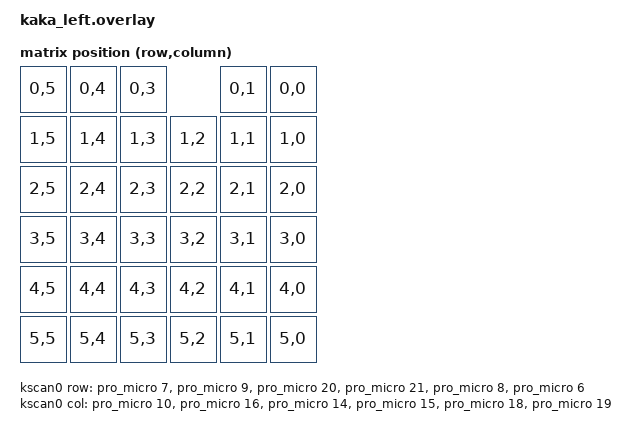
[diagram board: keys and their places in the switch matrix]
/*
 * Copyright (c) 2020 Pete Johanson
 *
 * SPDX-License-Identifier: MIT
 */

#include <dt-bindings/zmk/matrix_transform.h>



&pinctrl {
    spi0_default: spi0_default {
        group1 {
            psels = <NRF_PSEL(SPIM_SCK, 0, 24)>,
                <NRF_PSEL(SPIM_MOSI, 0, 22)>,
                <NRF_PSEL(SPIM_MISO, 0, 17)>;
        };
    };

    spi0_sleep: spi0_sleep {
        group1 {
            psels = <NRF_PSEL(SPIM_SCK, 0, 24>,
                <NRF_PSEL(SPIM_MOSI, 0, 22)>,
                <NRF_PSEL(SPIM_MISO, 0, 17>;
            low-power-enable;
        };
    };
};

&spi0 {
    status = "okay";
    compatible = "nordic,nrf-spim";
    pinctrl-0 = <&spi0_default>;
    pinctrl-1 = <&spi0_sleep>;
    pinctrl-names = "default", "sleep";
    cs-gpios = <&gpio0 20 GPIO_ACTIVE_LOW>;

    trackball: trackball@0 {
        status = "okay";
        compatible = "pixart,pmw3610";
        reg = <0>;
        spi-max-frequency = <2000000>;
        irq-gpios = <&gpio0 8 (GPIO_ACTIVE_LOW | GPIO_PULL_UP)>;

        /*   optional features   */
        // snipe-layers = <1>;
        // scroll-layers = <2 3>;
        // automouse-layer = <4>;
    };
};

/ {
  trackball_listener {
    compatible = "zmk,input-listener";
    device = <&trackball>;

  };
};


/ {
    chosen {
        zmk,kscan = &kscan0;
        zmk,matrix-transform = &default_transform;
    };

    default_transform: keymap_transform_0 {
        compatible = "zmk,matrix-transform";
        columns = <6>;
        rows = <6>;
// | SW1  | SW2  | SW3  | SW4  | SW5  | SW6  |   | SW6  | SW5  | SW4  | SW3  | SW2  | SW1  |
// | SW7  | SW8  | SW9  | SW10 | SW11 | SW12 |   | SW12 | SW11 | SW10 | SW9  | SW8  | SW7  |
// | SW13 | SW14 | SW15 | SW16 | SW17 | SW18 |   | SW18 | SW17 | SW16 | SW15 | SW14 | SW13 |
//                      | SW19 | SW20 | SW21 |   | SW21 | SW20 | SW19 |
        map = <
RC(0,5) RC(0,4) RC(0,3)         RC(0,1) RC(0,0)  
RC(1,5) RC(1,4) RC(1,3) RC(1,2) RC(1,1) RC(1,0)  
RC(2,5) RC(2,4) RC(2,3) RC(2,2) RC(2,1) RC(2,0)
RC(3,5) RC(3,4) RC(3,3) RC(3,2) RC(3,1) RC(3,0)  
RC(4,5) RC(4,4) RC(4,3) RC(4,2) RC(4,1) RC(4,0)    
RC(5,5) RC(5,4) RC(5,3) RC(5,2) RC(5,1) RC(5,0) 
        >;
    };


    kscan0: kscan {
        compatible = "zmk,kscan-gpio-matrix";
        wakeup-source;

        diode-direction = "col2row";
        row-gpios
            = <&pro_micro 7 (GPIO_ACTIVE_HIGH | GPIO_PULL_DOWN)>
            , <&pro_micro 9 (GPIO_ACTIVE_HIGH | GPIO_PULL_DOWN)>
            , <&pro_micro 20 (GPIO_ACTIVE_HIGH | GPIO_PULL_DOWN)>
            , <&pro_micro 21 (GPIO_ACTIVE_HIGH | GPIO_PULL_DOWN)>
            , <&pro_micro 8 (GPIO_ACTIVE_HIGH | GPIO_PULL_DOWN)>
            , <&pro_micro 6 (GPIO_ACTIVE_HIGH | GPIO_PULL_DOWN)>

            ;
        col-gpios
            = <&pro_micro 10 GPIO_ACTIVE_HIGH>
            , <&pro_micro 16 GPIO_ACTIVE_HIGH>
            , <&pro_micro 14 GPIO_ACTIVE_HIGH>
            , <&pro_micro 15 GPIO_ACTIVE_HIGH>
            , <&pro_micro 18 GPIO_ACTIVE_HIGH>
            , <&pro_micro 19 GPIO_ACTIVE_HIGH>
            ;
        

    };


};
